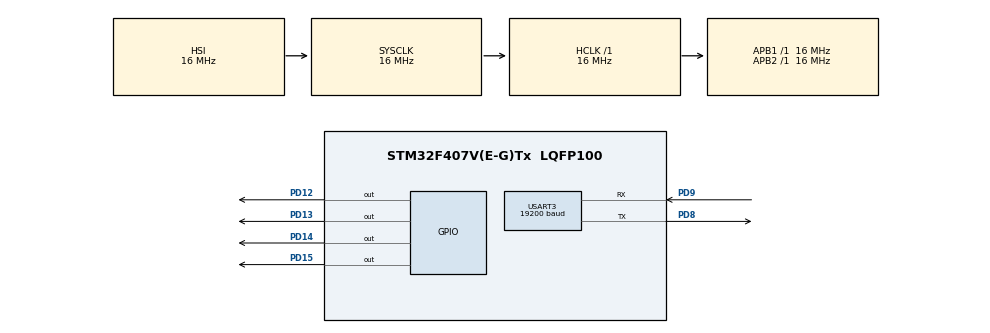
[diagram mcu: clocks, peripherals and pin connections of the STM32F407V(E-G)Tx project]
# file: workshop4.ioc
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Mcu.Family=STM32F4
Mcu.Name=STM32F407V(E-G)Tx
Mcu.Package=LQFP100
NVIC.PriorityGroup=NVIC_PRIORITYGROUP_4
PD12.Signal=GPIO_Output
PD13.Signal=GPIO_Output
PD14.Signal=GPIO_Output
PD15.Signal=GPIO_Output
PD8.Mode=Asynchronous
PD8.Signal=USART3_TX
PD9.Mode=Asynchronous
PD9.Signal=USART3_RX
ProjectManager.HeapSize=0x200
ProjectManager.StackSize=0x400
ProjectManager.TargetToolchain=STM32CubeIDE
RCC.AHBFreq_Value=16000000
RCC.APB1Freq_Value=16000000
RCC.APB2Freq_Value=16000000
RCC.CortexFreq_Value=16000000
RCC.HSE_VALUE=25000000
RCC.HSI_VALUE=16000000
RCC.LSE_VALUE=32768
RCC.SYSCLKFreq_VALUE=16000000
RCC.VCOOutputFreq_Value=192000000
USART3.BaudRate=19200
USART3.VirtualMode=VM_ASYNC
board=custom

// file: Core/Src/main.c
/* USER CODE BEGIN Header */
/**
  ******************************************************************************
  * @file           : main.c
  * @brief          : Main program body
  ******************************************************************************
  * @attention
  *
  * Copyright (c) 2026 STMicroelectronics.
  * All rights reserved.
  *
  * This software is licensed under terms that can be found in the LICENSE file
  * in the root directory of this software component.
  * If no LICENSE file comes with this software, it is provided AS-IS.
  *
  ******************************************************************************
  */
/* USER CODE END Header */
#include "main.h"

/* USER CODE BEGIN Includes */
#include <string.h>
#include <stdio.h>
/* USER CODE END Includes */

UART_HandleTypeDef huart3;

/* USER CODE BEGIN PV */
uint8_t rxByte = 0;

uint8_t greenState = 0;
uint8_t orangeState = 0;
uint8_t redState = 0;
uint8_t blueState = 0;

char txBuffer[96];
/* USER CODE END PV */

void SystemClock_Config(void);
static void MX_GPIO_Init(void);
static void MX_USART3_UART_Init(void);

/* USER CODE BEGIN 0 */
static void sendText(const char *text)
{
  HAL_UART_Transmit(&huart3, (uint8_t *)text, strlen(text), HAL_MAX_DELAY);
}

static void applyLedStates(void)
{
  HAL_GPIO_WritePin(GPIOD, GPIO_PIN_12, greenState ? GPIO_PIN_SET : GPIO_PIN_RESET);
  HAL_GPIO_WritePin(GPIOD, GPIO_PIN_13, orangeState ? GPIO_PIN_SET : GPIO_PIN_RESET);
  HAL_GPIO_WritePin(GPIOD, GPIO_PIN_14, redState ? GPIO_PIN_SET : GPIO_PIN_RESET);
  HAL_GPIO_WritePin(GPIOD, GPIO_PIN_15, blueState ? GPIO_PIN_SET : GPIO_PIN_RESET);
}

static void setAllStates(uint8_t state)
{
  greenState = state;
  orangeState = state;
  redState = state;
  blueState = state;

  applyLedStates();
}

static void printStatus(void)
{
  snprintf(txBuffer, sizeof(txBuffer),
           "STATUS G=%u O=%u R=%u B=%u\r\n",
           greenState, orangeState, redState, blueState);

  sendText(txBuffer);
}

static void printHelp(void)
{
  sendText("\r\nCommands:\r\n");
  sendText("G - toggle GREEN\r\n");
  sendText("O - toggle ORANGE\r\n");
  sendText("R - toggle RED\r\n");
  sendText("B - toggle BLUE\r\n");
  sendText("N - all LEDs ON\r\n");
  sendText("F - all LEDs OFF\r\n");
  sendText("S - show LED states\r\n");
  sendText("? - show commands\r\n\r\n");
}

static void processCommand(uint8_t command)
{
  switch (command)
  {
    case 'G':
    case 'g':
      greenState = !greenState;
      applyLedStates();
      sendText(greenState ? "GREEN TOGGLED ON\r\n" : "GREEN TOGGLED OFF\r\n");
      break;

    case 'O':
    case 'o':
      orangeState = !orangeState;
      applyLedStates();
      sendText(orangeState ? "ORANGE TOGGLED ON\r\n" : "ORANGE TOGGLED OFF\r\n");
      break;

    case 'R':
    case 'r':
      redState = !redState;
      applyLedStates();
      sendText(redState ? "RED TOGGLED ON\r\n" : "RED TOGGLED OFF\r\n");
      break;

    case 'B':
    case 'b':
      blueState = !blueState;
      applyLedStates();
      sendText(blueState ? "BLUE TOGGLED ON\r\n" : "BLUE TOGGLED OFF\r\n");
      break;

    case 'N':
    case 'n':
      setAllStates(1);
      sendText("ALL LEDS ON\r\n");
      break;

    case 'F':
    case 'f':
      setAllStates(0);
      sendText("ALL LEDS OFF\r\n");
      break;

    case 'S':
    case 's':
      printStatus();
      break;

    case '?':
      printHelp();
      break;

    case '\r':
    case '\n':
      break;

    default:
      sendText("UNKNOWN COMMAND\r\n");
      break;
  }
}
/* USER CODE END 0 */

int main(void)
{

  /* MCU Configuration--------------------------------------------------------*/

  /* Reset of all peripherals, Initializes the Flash interface and the Systick. */
  HAL_Init();

  /* Configure the system clock */
  SystemClock_Config();

  /* Initialize all configured peripherals */
  MX_GPIO_Init();
  MX_USART3_UART_Init();
  /* USER CODE BEGIN 2 */
  setAllStates(0);

  sendText("\r\nUSART polling toggle-control is ready\r\n");
  printHelp();
  /* USER CODE END 2 */

  /* Infinite loop */
  while (1)
  {

    /* USER CODE BEGIN 3 */
    if (HAL_UART_Receive(&huart3, &rxByte, 1, HAL_MAX_DELAY) == HAL_OK)
    {
      processCommand(rxByte);
    }
  }
  /* USER CODE END 3 */
}

void SystemClock_Config(void)
{
  RCC_OscInitTypeDef RCC_OscInitStruct = {0};
  RCC_ClkInitTypeDef RCC_ClkInitStruct = {0};

  /** Configure the main internal regulator output voltage
  */
  __HAL_RCC_PWR_CLK_ENABLE();
  __HAL_PWR_VOLTAGESCALING_CONFIG(PWR_REGULATOR_VOLTAGE_SCALE1);

  /** Initializes the RCC Oscillators according to the specified parameters
  * in the RCC_OscInitTypeDef structure.
  */
  RCC_OscInitStruct.OscillatorType = RCC_OSCILLATORTYPE_HSI;
  RCC_OscInitStruct.HSIState = RCC_HSI_ON;
  RCC_OscInitStruct.HSICalibrationValue = RCC_HSICALIBRATION_DEFAULT;
  RCC_OscInitStruct.PLL.PLLState = RCC_PLL_NONE;
  if (HAL_RCC_OscConfig(&RCC_OscInitStruct) != HAL_OK)
  {
    Error_Handler();
  }

  /** Initializes the CPU, AHB and APB buses clocks
  */
  RCC_ClkInitStruct.ClockType = RCC_CLOCKTYPE_HCLK|RCC_CLOCKTYPE_SYSCLK
                              |RCC_CLOCKTYPE_PCLK1|RCC_CLOCKTYPE_PCLK2;
  RCC_ClkInitStruct.SYSCLKSource = RCC_SYSCLKSOURCE_HSI;
  RCC_ClkInitStruct.AHBCLKDivider = RCC_SYSCLK_DIV1;
  RCC_ClkInitStruct.APB1CLKDivider = RCC_HCLK_DIV1;
  RCC_ClkInitStruct.APB2CLKDivider = RCC_HCLK_DIV1;

  if (HAL_RCC_ClockConfig(&RCC_ClkInitStruct, FLASH_LATENCY_0) != HAL_OK)
  {
    Error_Handler();
  }
}

static void MX_USART3_UART_Init(void)
{

  huart3.Instance = USART3;
  huart3.Init.BaudRate = 19200;
  huart3.Init.WordLength = UART_WORDLENGTH_8B;
  huart3.Init.StopBits = UART_STOPBITS_1;
  huart3.Init.Parity = UART_PARITY_NONE;
  huart3.Init.Mode = UART_MODE_TX_RX;
  huart3.Init.HwFlowCtl = UART_HWCONTROL_NONE;
  huart3.Init.OverSampling = UART_OVERSAMPLING_16;
  if (HAL_UART_Init(&huart3) != HAL_OK)
  {
    Error_Handler();
  }

}

static void MX_GPIO_Init(void)
{
  GPIO_InitTypeDef GPIO_InitStruct = {0};

  /* GPIO Ports Clock Enable */
  __HAL_RCC_GPIOD_CLK_ENABLE();

  /*Configure GPIO pin Output Level */
  HAL_GPIO_WritePin(GPIOD, GPIO_PIN_12|GPIO_PIN_13|GPIO_PIN_14|GPIO_PIN_15, GPIO_PIN_RESET);

  /*Configure GPIO pins : PD12 PD13 PD14 PD15 */
  GPIO_InitStruct.Pin = GPIO_PIN_12|GPIO_PIN_13|GPIO_PIN_14|GPIO_PIN_15;
  GPIO_InitStruct.Mode = GPIO_MODE_OUTPUT_PP;
  GPIO_InitStruct.Pull = GPIO_NOPULL;
  GPIO_InitStruct.Speed = GPIO_SPEED_FREQ_LOW;
  HAL_GPIO_Init(GPIOD, &GPIO_InitStruct);

}

void Error_Handler(void)
{
  __disable_irq();
  while (1)
  {
  }
}
